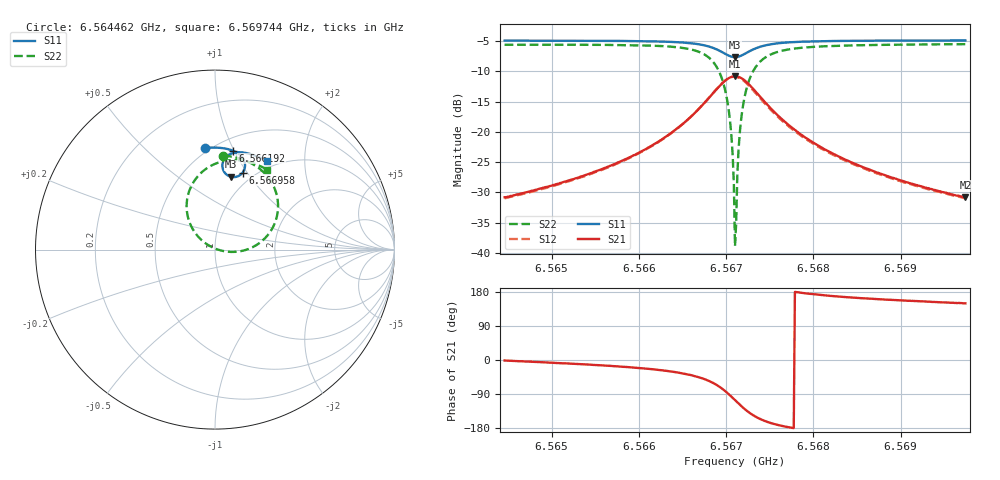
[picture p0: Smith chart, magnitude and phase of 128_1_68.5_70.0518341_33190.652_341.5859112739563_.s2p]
#  HZ  S  RI  R  50.00
! Rohde & Schwarz Vector Network Analyzer
! Rohde-Schwarz,ZNB20-2Port,1311601062101988,3.16
! Created: UTC 3/20/2024, 5:09:23 PM
! freq[Hz]  re:S11  im:S11  re:S21  im:S21  re:S12  im:S12  re:S22  im:S22
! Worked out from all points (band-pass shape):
!   401 points, 6.564462 GHz to 6.569744 GHz, reference 50 ohm
!   highest |S21| = -10.79 dB at 6.567103 GHz (marker M1); lowest = -30.8 dB at 6.569744 GHz (marker M2)
!   |S21| within 3 dB of the highest: 6.56684 GHz to 6.567367 GHz (527.7 kHz wide, 0.00804 % of centre)
!   lowest |S11| = -7.6 dB at 6.567103 GHz (marker M3), VSWR 2.42, Z = 41.7 + j40.9 ohm
!   |S11| at or under -10 dB: nowhere
!   |S22| runs from -38.9 to -5.5 dB; largest |S21 - S12| = 0.014
!   S11 on the Smith chart (normalised r, x): 6.564462 GHz: 0.47, +0.79; 6.566192 GHz: 0.61, +0.99; 6.566958 GHz: 0.88, +0.95; 6.569744 GHz: 0.91, +1.32
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6.564462e9  -0.0548 0.5665  0.0289 -0.00069  0.0283 -0.00129  0.0452 0.5236
6.5653467e9  0.0181 0.5676  0.0421 -0.00842  0.0415 -0.00882  0.1303 0.5091
6.5661917e9  0.0981 0.5519  0.0727 -0.0343  0.0716 -0.0353  0.2438 0.4544
6.5662313e9  0.1023 0.5503  0.0751 -0.0371  0.0741 -0.038  0.2509 0.4488
6.566535e9  0.1381 0.529  0.0976 -0.0728  0.0961 -0.0741  0.3129 0.3785
6.5667463e9  0.1624 0.4953  0.1108 -0.1312  0.1082 -0.134  0.3503 0.2657
6.5668651e9  0.167 0.4618  0.1 -0.1898  0.0951 -0.1934  0.3357 0.1543
6.5669575e9  0.1545 0.4294  0.0609 -0.2454  0.0524 -0.2483  0.2648 0.0504
6.5670368e9  0.1247 0.4075  -0.0069 -0.2799  -0.0187 -0.2792  0.1403 -0.00939
6.5670632e9  0.1114 0.4043  -0.0352 -0.2832  -0.0475 -0.2806  0.0888 -0.013
6.5670896e9  0.0973 0.4042  -0.0644 -0.2811  -0.0769 -0.2761  0.0367 -0.00603
6.5671028e9  0.0904 0.4054  -0.0793 -0.2778  -0.0912 -0.2717  0.0113 0.00144
6.567116e9  0.0836 0.4072  -0.0932 -0.2731  -0.105 -0.2659  -0.0132 0.0116
6.5671292e9  0.077 0.4099  -0.1068 -0.2668  -0.1178 -0.2588  -0.0363 0.0241
6.5671556e9  0.0653 0.4173  -0.1312 -0.2511  -0.1409 -0.2413  -0.077 0.0549
6.5671952e9  0.0516 0.4321  -0.16 -0.2212  -0.1668 -0.2096  -0.1226 0.1116
6.5672348e9  0.0438 0.4486  -0.1779 -0.1877  -0.182 -0.176  -0.1485 0.1723
6.5673008e9  0.0416 0.4756  -0.1881 -0.1351  -0.1882 -0.1245  -0.157 0.2655
6.5675517e9  0.0799 0.53  -0.144 -0.0281  -0.1409 -0.0238  -0.0561 0.4456
6.5679874e9  0.1429 0.5422  -0.0823 0.0089  -0.0803 0.0101  0.0823 0.4978
6.5688721e9  0.2265 0.5221  -0.0398 0.0153  -0.0389 0.0157  0.2131 0.4808
6.5697435e9  0.2913 0.4909  -0.0248 0.0146  -0.0242 0.0147  0.2905 0.4455
